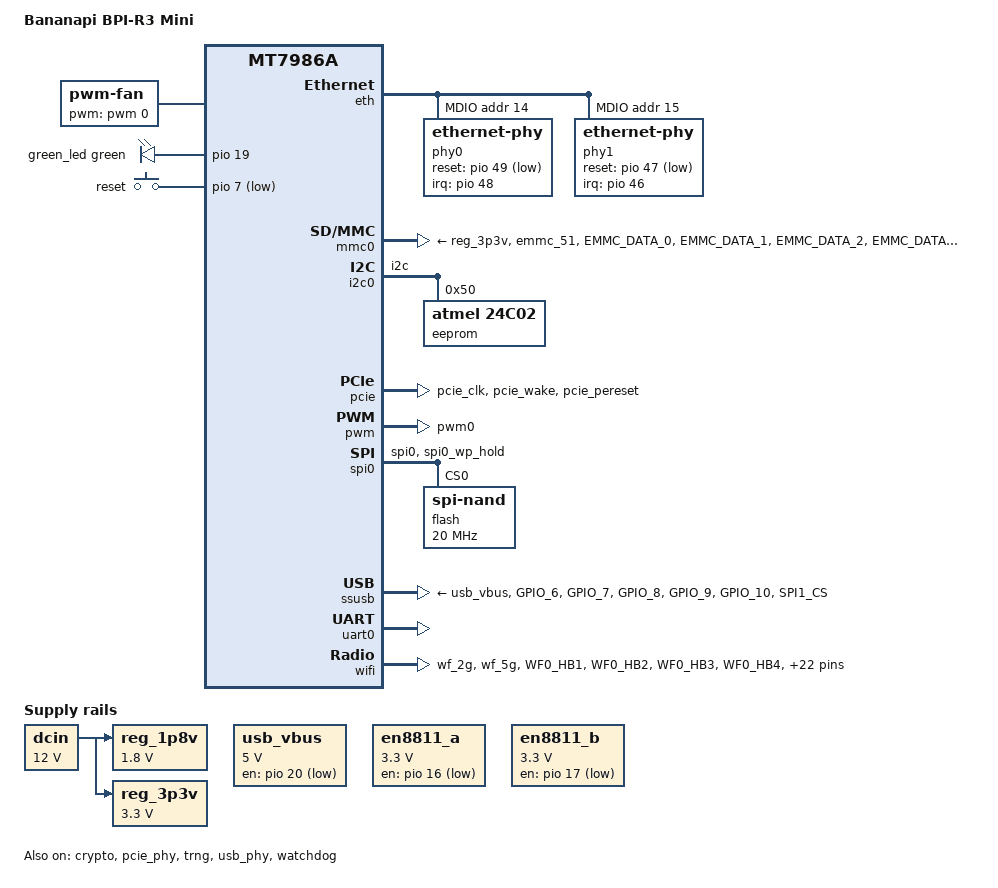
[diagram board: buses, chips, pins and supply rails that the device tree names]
// SPDX-License-Identifier: (GPL-2.0 OR MIT)
/*
 * Copyright (C) 2021 MediaTek Inc.
 * Authors: Frank Wunderlich <frank-w@public-files.de>
 *          Eric Woudstra <ericwouds@gmail.com>
 *          Tianling Shen <cnsztl@immortalwrt.org>
 */

/dts-v1/;

#include <dt-bindings/gpio/gpio.h>
#include <dt-bindings/input/input.h>
#include <dt-bindings/leds/common.h>
#include <dt-bindings/pinctrl/mt65xx.h>

#include "mt7986a.dtsi"

/ {
	model = "Bananapi BPI-R3 Mini";
	chassis-type = "embedded";
	compatible = "bananapi,bpi-r3mini", "mediatek,mt7986a";

	aliases {
		serial0 = &uart0;
		ethernet0 = &gmac0;
		ethernet1 = &gmac1;
	};

	chosen {
		stdout-path = "serial0:115200n8";
	};

	dcin: regulator-12v {
		compatible = "regulator-fixed";
		regulator-name = "12vd";
		regulator-min-microvolt = <12000000>;
		regulator-max-microvolt = <12000000>;
		regulator-boot-on;
		regulator-always-on;
	};

	fan: pwm-fan {
		compatible = "pwm-fan";
		#cooling-cells = <2>;
		/*
		 * The signal is inverted on this board and the PWM driver
		 * does not support polarity inversion.
		 */
		/* cooling level (0, 1, 2) */
		cooling-levels = <255 96 0>;
		pwms = <&pwm 0 10000>;
	};

	reg_1p8v: regulator-1v8 {
		compatible = "regulator-fixed";
		regulator-name = "1.8vd";
		regulator-min-microvolt = <1800000>;
		regulator-max-microvolt = <1800000>;
		regulator-boot-on;
		regulator-always-on;
		vin-supply = <&dcin>;
	};

	reg_3p3v: regulator-3v3 {
		compatible = "regulator-fixed";
		regulator-name = "3.3vd";
		regulator-min-microvolt = <3300000>;
		regulator-max-microvolt = <3300000>;
		regulator-boot-on;
		regulator-always-on;
		vin-supply = <&dcin>;
	};

	usb_vbus: regulator-5v {
		compatible = "regulator-fixed";
		regulator-name = "usb_vbus";
		regulator-min-microvolt = <5000000>;
		regulator-max-microvolt = <5000000>;
		gpios = <&pio 20 GPIO_ACTIVE_LOW>;
		regulator-boot-on;
	};

	en8811_a: regulator-phy1 {
		compatible = "regulator-fixed";
		regulator-name = "phy1";
		regulator-min-microvolt = <3300000>;
		regulator-max-microvolt = <3300000>;
		gpio = <&pio 16 GPIO_ACTIVE_LOW>;
		regulator-always-on;
	};

	en8811_b: regulator-phy2 {
		compatible = "regulator-fixed";
		regulator-name = "phy2";
		regulator-min-microvolt = <3300000>;
		regulator-max-microvolt = <3300000>;
		gpio = <&pio 17 GPIO_ACTIVE_LOW>;
		regulator-always-on;
	};

	leds {
		compatible = "gpio-leds";

		green_led: led-0 {
			color = <LED_COLOR_ID_GREEN>;
			function = LED_FUNCTION_POWER;
			gpios = <&pio 19 GPIO_ACTIVE_HIGH>;
			default-state = "on";
		};
	};

	gpio-keys {
		compatible = "gpio-keys";

		reset-key {
			label = "reset";
			linux,code = <KEY_RESTART>;
			gpios = <&pio 7 GPIO_ACTIVE_LOW>;
		};
	};

};

&cpu_thermal {
	cooling-maps {
		map0 {
			/* active: set fan to cooling level 2 */
			cooling-device = <&fan 2 2>;
			trip = <&cpu_trip_active_high>;
		};

		map1 {
			/* active: set fan to cooling level 1 */
			cooling-device = <&fan 1 1>;
			trip = <&cpu_trip_active_med>;
		};

		map2 {
			/* active: set fan to cooling level 0 */
			cooling-device = <&fan 0 0>;
			trip = <&cpu_trip_active_low>;
		};
	};
};

&crypto {
	status = "okay";
};

&eth {
	status = "okay";

	gmac0: mac@0 {
		compatible = "mediatek,eth-mac";
		reg = <0>;
		phy-mode = "2500base-x";
		phy-handle = <&phy0>;
	};

	gmac1: mac@1 {
		compatible = "mediatek,eth-mac";
		reg = <1>;
		phy-mode = "2500base-x";
		phy-handle = <&phy1>;
	};

	mdio: mdio-bus {
		#address-cells = <1>;
		#size-cells = <0>;
	};
};

&mmc0 {
	pinctrl-names = "default", "state_uhs";
	pinctrl-0 = <&mmc0_pins_default>;
	pinctrl-1 = <&mmc0_pins_uhs>;
	vmmc-supply = <&reg_3p3v>;
	vqmmc-supply = <&reg_1p8v>;
};


&i2c0 {
	pinctrl-names = "default";
	pinctrl-0 = <&i2c_pins>;
	status = "okay";

	/* MAC Address EEPROM */
	eeprom@50 {
		compatible = "atmel,24c02";
		reg = <0x50>;

		address-width = <8>;
		pagesize = <8>;
		size = <256>;
	};
};

&mdio {
	phy0: ethernet-phy@14 {
		reg = <14>;
		interrupts-extended = <&pio 48 IRQ_TYPE_EDGE_FALLING>;
		reset-gpios = <&pio 49 GPIO_ACTIVE_LOW>;
		reset-assert-us = <10000>;
		reset-deassert-us = <20000>;
		phy-mode = "2500base-x";
		full-duplex;
		pause;
		airoha,pnswap-rx;

		leds {
			#address-cells = <1>;
			#size-cells = <0>;

			led@0 { /* en8811_a_gpio5 */
				reg = <0>;
				color = <LED_COLOR_ID_YELLOW>;
				function = LED_FUNCTION_LAN;
				function-enumerator = <1>;
				default-state = "keep";
			};
			led@1 { /* en8811_a_gpio4 */
				reg = <1>;
				color = <LED_COLOR_ID_GREEN>;
				function = LED_FUNCTION_LAN;
				function-enumerator = <2>;
				default-state = "keep";
			};
		};
	};

	phy1: ethernet-phy@15 {
		reg = <15>;
		interrupts-extended = <&pio 46 IRQ_TYPE_EDGE_FALLING>;
		reset-gpios = <&pio 47 GPIO_ACTIVE_LOW>;
		reset-assert-us = <10000>;
		reset-deassert-us = <20000>;
		phy-mode = "2500base-x";
		full-duplex;
		pause;
		airoha,pnswap-rx;

		leds {
			#address-cells = <1>;
			#size-cells = <0>;

			led@0 { /* en8811_b_gpio5 */
				reg = <0>;
				color = <LED_COLOR_ID_YELLOW>;
				function = LED_FUNCTION_WAN;
				function-enumerator = <1>;
				default-state = "keep";
			};
			led@1 { /* en8811_b_gpio4 */
				reg = <1>;
				color = <LED_COLOR_ID_GREEN>;
				function = LED_FUNCTION_WAN;
				function-enumerator = <2>;
				default-state = "keep";
			};
		};
	};
};

&pcie {
	pinctrl-names = "default";
	pinctrl-0 = <&pcie_pins>;
	status = "okay";
};

&pcie_phy {
	status = "okay";
};

&pio {
	i2c_pins: i2c-pins {
		mux {
			function = "i2c";
			groups = "i2c";
		};
	};

	mmc0_pins_default: mmc0-pins {
		mux {
			function = "emmc";
			groups = "emmc_51";
		};
		conf-cmd-dat {
			pins = "EMMC_DATA_0", "EMMC_DATA_1", "EMMC_DATA_2",
			       "EMMC_DATA_3", "EMMC_DATA_4", "EMMC_DATA_5",
			       "EMMC_DATA_6", "EMMC_DATA_7", "EMMC_CMD";
			input-enable;
			drive-strength = <4>;
			bias-pull-up = <MTK_PUPD_SET_R1R0_01>; /* pull-up 10K */
		};
		conf-clk {
			pins = "EMMC_CK";
			drive-strength = <6>;
			bias-pull-down = <MTK_PUPD_SET_R1R0_10>; /* pull-down 50K */
		};
		conf-ds {
			pins = "EMMC_DSL";
			bias-pull-down = <MTK_PUPD_SET_R1R0_10>; /* pull-down 50K */
		};
		conf-rst {
			pins = "EMMC_RSTB";
			drive-strength = <4>;
			bias-pull-up = <MTK_PUPD_SET_R1R0_01>; /* pull-up 10K */
		};
	};

	mmc0_pins_uhs: mmc0-uhs-pins {
		mux {
			function = "emmc";
			groups = "emmc_51";
		};
		conf-cmd-dat {
			pins = "EMMC_DATA_0", "EMMC_DATA_1", "EMMC_DATA_2",
			       "EMMC_DATA_3", "EMMC_DATA_4", "EMMC_DATA_5",
			       "EMMC_DATA_6", "EMMC_DATA_7", "EMMC_CMD";
			input-enable;
			drive-strength = <4>;
			bias-pull-up = <MTK_PUPD_SET_R1R0_01>; /* pull-up 10K */
		};
		conf-clk {
			pins = "EMMC_CK";
			drive-strength = <6>;
			bias-pull-down = <MTK_PUPD_SET_R1R0_10>; /* pull-down 50K */
		};
		conf-ds {
			pins = "EMMC_DSL";
			bias-pull-down = <MTK_PUPD_SET_R1R0_10>; /* pull-down 50K */
		};
		conf-rst {
			pins = "EMMC_RSTB";
			drive-strength = <4>;
			bias-pull-up = <MTK_PUPD_SET_R1R0_01>; /* pull-up 10K */
		};
	};

	pcie_pins: pcie-pins {
		mux {
			function = "pcie";
			groups = "pcie_clk", "pcie_wake", "pcie_pereset";
		};
	};

	pwm_pins: pwm-pins {
		mux {
			function = "pwm";
			groups = "pwm0";
		};
	};

	spi_flash_pins: spi-flash-pins {
		mux {
			function = "spi";
			groups = "spi0", "spi0_wp_hold";
		};
	};

	usb_ngff_pins: usb-ngff-pins {
		ngff-gnss-off-conf {
			pins = "GPIO_6";
			drive-strength = <8>;
			mediatek,pull-up-adv = <1>;
		};
		ngff-pe-rst-conf {
			pins = "GPIO_7";
			drive-strength = <8>;
			mediatek,pull-up-adv = <1>;
		};
		ngff-wwan-off-conf {
			pins = "GPIO_8";
			drive-strength = <8>;
			mediatek,pull-up-adv = <1>;
		};
		ngff-pwr-off-conf {
			pins = "GPIO_9";
			drive-strength = <8>;
			mediatek,pull-up-adv = <1>;
		};
		ngff-rst-conf {
			pins = "GPIO_10";
			drive-strength = <8>;
			mediatek,pull-up-adv = <1>;
		};
		ngff-coex-conf {
			pins = "SPI1_CS";
			drive-strength = <8>;
			mediatek,pull-up-adv = <1>;
		};
	};

	wf_2g_5g_pins: wf-2g-5g-pins {
		mux {
			function = "wifi";
			groups = "wf_2g", "wf_5g";
		};
		conf {
			pins = "WF0_HB1", "WF0_HB2", "WF0_HB3", "WF0_HB4",
			       "WF0_HB0", "WF0_HB0_B", "WF0_HB5", "WF0_HB6",
			       "WF0_HB7", "WF0_HB8", "WF0_HB9", "WF0_HB10",
			       "WF0_TOP_CLK", "WF0_TOP_DATA", "WF1_HB1",
			       "WF1_HB2", "WF1_HB3", "WF1_HB4", "WF1_HB0",
			       "WF1_HB5", "WF1_HB6", "WF1_HB7", "WF1_HB8",
			       "WF1_TOP_CLK", "WF1_TOP_DATA";
			drive-strength = <4>;
		};
	};

	wf_dbdc_pins: wf-dbdc-pins {
		mux {
			function = "wifi";
			groups = "wf_dbdc";
		};
		conf {
			pins = "WF0_HB1", "WF0_HB2", "WF0_HB3", "WF0_HB4",
			       "WF0_HB0", "WF0_HB0_B", "WF0_HB5", "WF0_HB6",
			       "WF0_HB7", "WF0_HB8", "WF0_HB9", "WF0_HB10",
			       "WF0_TOP_CLK", "WF0_TOP_DATA", "WF1_HB1",
			       "WF1_HB2", "WF1_HB3", "WF1_HB4", "WF1_HB0",
			       "WF1_HB5", "WF1_HB6", "WF1_HB7", "WF1_HB8",
			       "WF1_TOP_CLK", "WF1_TOP_DATA";
			drive-strength = <4>;
		};
	};

	wf_led_pins: wf-led-pins {
		mux {
			function = "led";
			groups = "wifi_led";
		};
	};
};

&pwm {
	pinctrl-names = "default";
	pinctrl-0 = <&pwm_pins>;
	status = "okay";
};

&spi0 {
	pinctrl-names = "default";
	pinctrl-0 = <&spi_flash_pins>;
	status = "okay";

	flash@0 {
		compatible = "spi-nand";
		#address-cells = <1>;
		#size-cells = <1>;
		reg = <0>;

		spi-max-frequency = <20000000>;
		spi-tx-bus-width = <4>;
		spi-rx-bus-width = <4>;
	};
};

&ssusb {
	pinctrl-names = "default";
	pinctrl-0 = <&usb_ngff_pins>;
	vusb33-supply = <&reg_3p3v>;
	vbus-supply = <&usb_vbus>;
	status = "okay";
};

&trng {
	status = "okay";
};

&uart0 {
	status = "okay";
};

&usb_phy {
	status = "okay";
};

&watchdog {
	status = "okay";
};

&wifi {
	status = "okay";
	pinctrl-names = "default", "dbdc";
	pinctrl-0 = <&wf_2g_5g_pins>, <&wf_led_pins>;
	pinctrl-1 = <&wf_dbdc_pins>, <&wf_led_pins>;

	led {
		led-active-low;
	};
};

